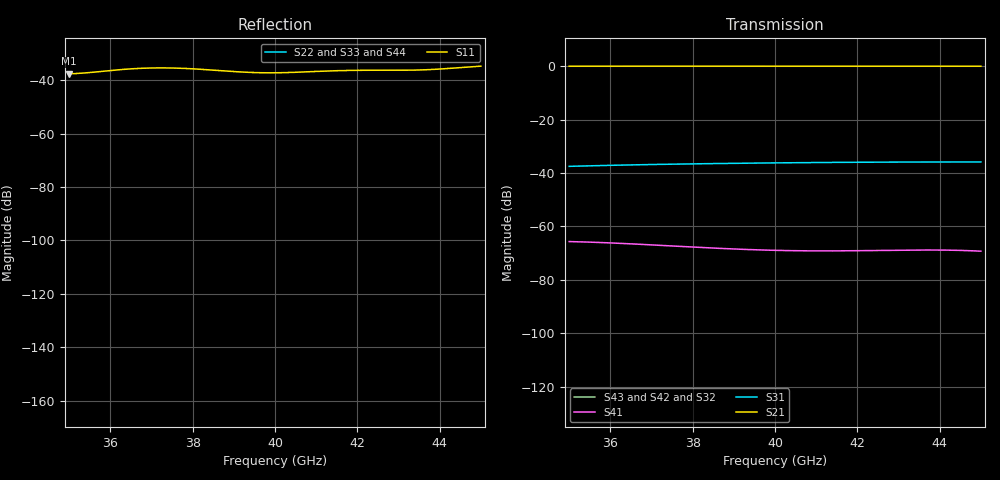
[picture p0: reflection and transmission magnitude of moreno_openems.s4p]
! Moreno cross-guide coupler, openEMS FDTD
! only column 1 (port 1 excited) and, by reciprocity, row 1 are simulated; other entries are zero
! S-parameters are normalised to each port's TE10 wave impedance (generalised
! S-matrix); 'R 50' below is only the placeholder the format requires.
! Reference planes: edges of the common a x a square.
# GHz S MA R 50
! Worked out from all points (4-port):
!   201 points, 35 GHz to 45 GHz, reference 50 ohm
!   strongest paths, dB at 35 GHz, 37.5 GHz, 40 GHz, 42.5 GHz, 45 GHz:
!     S21: 0.0, 0.0, 0.0, 0.0, 0.0
!     S31: -37.5, -36.7, -36.2, -35.9, -35.9
!     S41: -65.7, -67.3, -69.0, -69.0, -69.3
!     S43: -, -, -, -, -
!     S42: -, -, -, -, -
!     S32: -, -, -, -, -
!   lowest |S11| = -37.6 dB at 35 GHz (marker M1), VSWR 1.03, Z = 48.8 - j0.603 ohm
!   |S11| at or under -10 dB: start of sweep to end of sweep
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35  0.01323 -152.2  0.9989 -159.2  0.01333 110.8  0.0005199 -68.0
    0.9989 -159.2  0 0.0  0 0.0  0 0.0
    0.01333 110.8  0 0.0  0 0.0  0 0.0
    0.0005199 -68.0  0 0.0  0 0.0  0 0.0
37.15  0.01703 -77.1  1.001 178.9  0.01449 88.9  0.0004448 -97.0
       1.001 178.9  0 0.0  0 0.0  0 0.0
       0.01449 88.9  0 0.0  0 0.0  0 0.0
       0.0004448 -97.0  0 0.0  0 0.0  0 0.0
39.45  0.01397 -4.0  0.9994 156.8  0.01532 66.8  0.0003666 -118.0
       0.9994 156.8  0 0.0  0 0.0  0 0.0
       0.01532 66.8  0 0.0  0 0.0  0 0.0
       0.0003666 -118.0  0 0.0  0 0.0  0 0.0
40.85  0.01446 49.1  1 143.9  0.01568 53.9  0.0003485 -127.6
       1 143.9  0 0.0  0 0.0  0 0.0
       0.01568 53.9  0 0.0  0 0.0  0 0.0
       0.0003485 -127.6  0 0.0  0 0.0  0 0.0
42.35  0.01539 96.7  1 130.3  0.01595 40.3  0.0003535 -139.6
       1 130.3  0 0.0  0 0.0  0 0.0
       0.01595 40.3  0 0.0  0 0.0  0 0.0
       0.0003535 -139.6  0 0.0  0 0.0  0 0.0
43.6  0.01565 138.8  0.9994 119.1  0.01607 29.1  0.0003615 -153.1
      0.9994 119.1  0 0.0  0 0.0  0 0.0
      0.01607 29.1  0 0.0  0 0.0  0 0.0
      0.0003615 -153.1  0 0.0  0 0.0  0 0.0
45  0.01836 -179.0  0.9982 107.0  0.01611 17.0  0.0003435 -171.1
    0.9982 107.0  0 0.0  0 0.0  0 0.0
    0.01611 17.0  0 0.0  0 0.0  0 0.0
    0.0003435 -171.1  0 0.0  0 0.0  0 0.0
